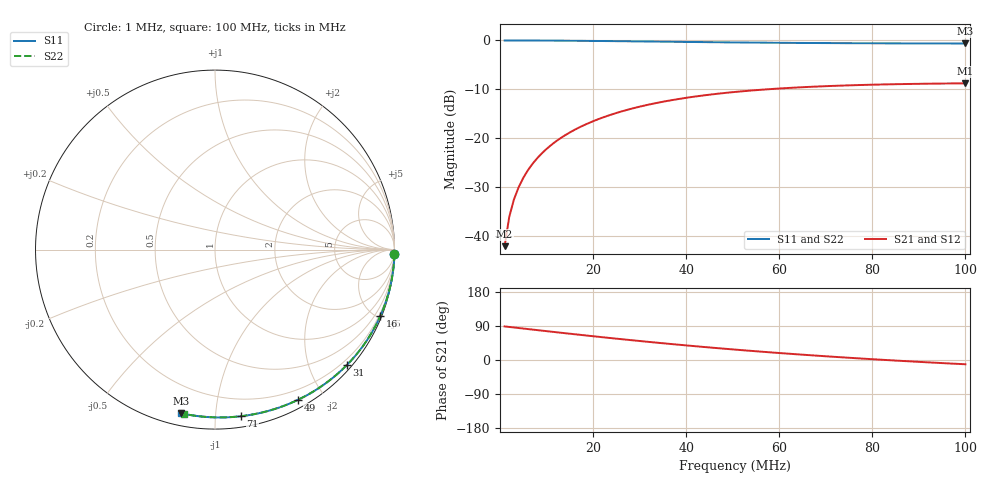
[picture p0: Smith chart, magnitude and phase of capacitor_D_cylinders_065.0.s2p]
!Created with skrf (http://scikit-rf.org).
# MHz S RI R 50.0
!freq ReS11 ImS11 ReS21 ImS21 ReS12 ImS12 ReS22 ImS22
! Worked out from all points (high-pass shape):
!   100 points, 1 MHz to 100 MHz, reference 50 ohm
!   highest |S21| = -8.77 dB at 100 MHz (marker M1); lowest = -42.1 dB at 1 MHz (marker M2)
!   |S21| within 3 dB of the highest: 39.75 MHz to end of sweep
!   lowest |S11| = -0.6 dB at 100 MHz (marker M3), VSWR 28.09, Z = 2.96 - j40.6 ohm
!   |S11| at or under -10 dB: nowhere
!   |S22| runs from -0.6 to 0.0 dB; largest |S21 - S12| = 2.2e-15
!   S11 on the Smith chart (normalised r, x): 1 MHz: 0, -82; 16 MHz: 0.10, -5.15; 31 MHz: 0.10, -2.67; 49 MHz: 0.09, -1.69; 71 MHz: 0.07, -1.16; 100 MHz: 0.06, -0.81
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1  0.9997 -0.0243  0.000191 0.00788  0.000191 0.00788  0.9997 -0.0243
! Port Impedance 50.00000000000000 0.00000000000000 50.00000000000000 0.00000000000000
2  0.9987 -0.0486  0.000765 0.0157  0.000765 0.0157  0.9987 -0.0485
3  0.9971 -0.0728  0.00172 0.0236  0.00172 0.0236  0.9971 -0.0727
4  0.9948 -0.0969  0.00305 0.0313  0.00305 0.0313  0.9948 -0.0968
5  0.9919 -0.121  0.00475 0.039  0.00475 0.039  0.9919 -0.1208
6  0.9883 -0.1448  0.00682 0.0465  0.00682 0.0465  0.9884 -0.1447
7  0.9842 -0.1686  0.00924 0.054  0.00924 0.054  0.9842 -0.1684
9  0.974 -0.2155  0.0151 0.0685  0.0151 0.0685  0.974 -0.2152
12  0.9543 -0.2841  0.0264 0.0888  0.0264 0.0888  0.9544 -0.2837
16  0.9205 -0.3713  0.0455 0.1129  0.0455 0.1129  0.9207 -0.3708
18  0.9006 -0.4128  0.0565 0.1233  0.0565 0.1233  0.9009 -0.4123
24  0.8312 -0.5277  0.0938 0.1478  0.0938 0.1478  0.8317 -0.5269
31  0.736 -0.6417  0.1416 0.1627  0.1416 0.1627  0.7369 -0.6407
34  0.692 -0.6838  0.1624 0.1646  0.1624 0.1646  0.6932 -0.6826
41  0.5856 -0.7667  0.209 0.16  0.209 0.16  0.5875 -0.7652
49  0.462 -0.8372  0.256 0.1419  0.256 0.1419  0.465 -0.8355
51  0.4314 -0.8512  0.2664 0.1357  0.2664 0.1357  0.4347 -0.8495
59  0.3116 -0.8946  0.3021 0.1061  0.3021 0.1061  0.3164 -0.8929
67  0.1981 -0.9208  0.3283 0.0718  0.3283 0.0718  0.2045 -0.9194
71  0.144 -0.9285  0.338 0.0538  0.338 0.0538  0.1514 -0.9273
84  -0.018 -0.9342  0.3562 -0.0048  0.3562 -0.0048  -0.00717 -0.9344
100  -0.1894 -0.9118  0.3574 -0.071  0.3574 -0.071  -0.1736 -0.9149
